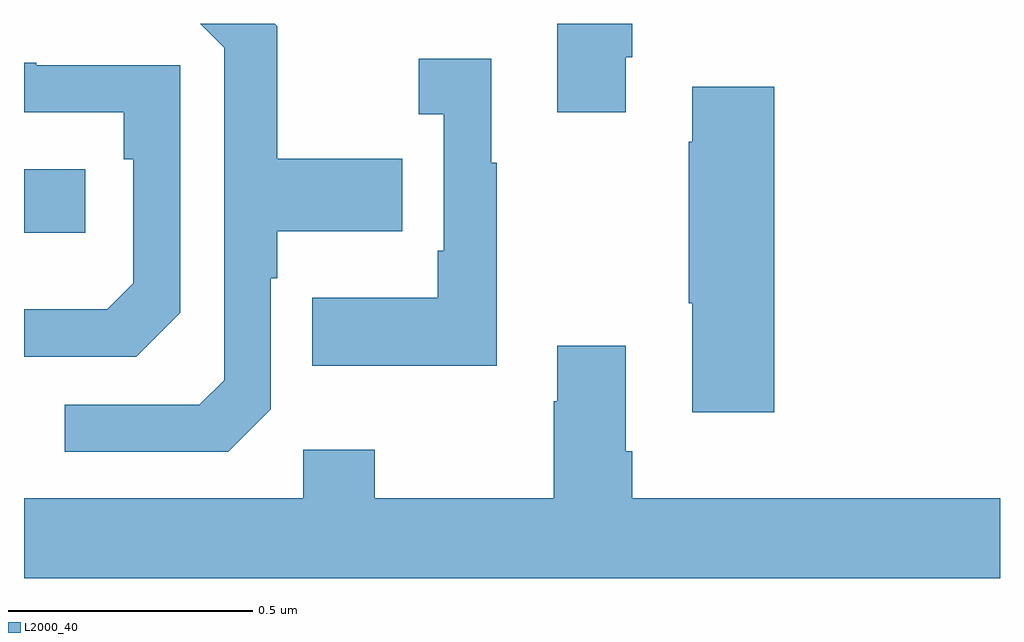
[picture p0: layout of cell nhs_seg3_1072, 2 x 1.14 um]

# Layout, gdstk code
import gdstk
lib = gdstk.Library(unit=1e-6, precision=1e-09)
def R(c, l, rs):  # rectangles x0, y0, x1, y1
    for r in rs: c.add(gdstk.rectangle(r[:2], r[2:], *l))
def P(c, l, *ps):  # polygons
    for p in ps: c.add(gdstk.Polygon(p, *l))
L2000_40 = (2000, 40)

nhs_seg3_1072 = lib.new_cell('nhs_seg3_1072')
R(nhs_seg3_1072, L2000_40, [(124,686.972,124.126,687.102)])
P(nhs_seg3_1072, L2000_40, [(124.506,686.61),(124.506,686.879),(124.519,686.879),(124.519,686.975),(124.775,686.975),(124.775,687.123),(124.519,687.123),(124.519,687.395),(124.514,687.4),(124.361,687.4),(124.41,687.351),(124.41,686.67),(124.359,686.619),(124.083,686.619),(124.083,686.523),(124.419,686.523)],
  [(125.233,687.331),(125.246,687.331),(125.246,687.4),(125.093,687.4),(125.093,687.219),(125.233,687.219)],
  [(124.969,687.115),(124.957,687.115),(124.957,687.328),(124.809,687.328),(124.809,687.215),(124.86,687.215),(124.86,686.935),(124.848,686.935),(124.848,686.839),(124.591,686.839),(124.591,686.699),(124.969,686.699)],
  [(124.32,686.808),(124.32,687.315),(124.025,687.315),(124.025,687.32),(124,687.32),(124,687.219),(124.204,687.219),(124.204,687.122),(124.224,687.122),(124.224,686.868),(124.171,686.815),(124,686.815),(124,686.718),(124.23,686.718)],
  [(125.537,687.271),(125.369,687.271),(125.369,687.158),(125.362,687.158),(125.362,686.827),(125.369,686.827),(125.369,686.604),(125.537,686.604)],
  [(126,686.428),(125.246,686.428),(125.246,686.524),(125.233,686.524),(125.233,686.74),(125.093,686.74),(125.093,686.627),(125.086,686.627),(125.086,686.428),(124.719,686.428),(124.719,686.527),(124.572,686.527),(124.572,686.428),(124,686.428),(124,686.264),(126,686.264)])

lib.write_gds('nhs_seg3_1072.gds')
